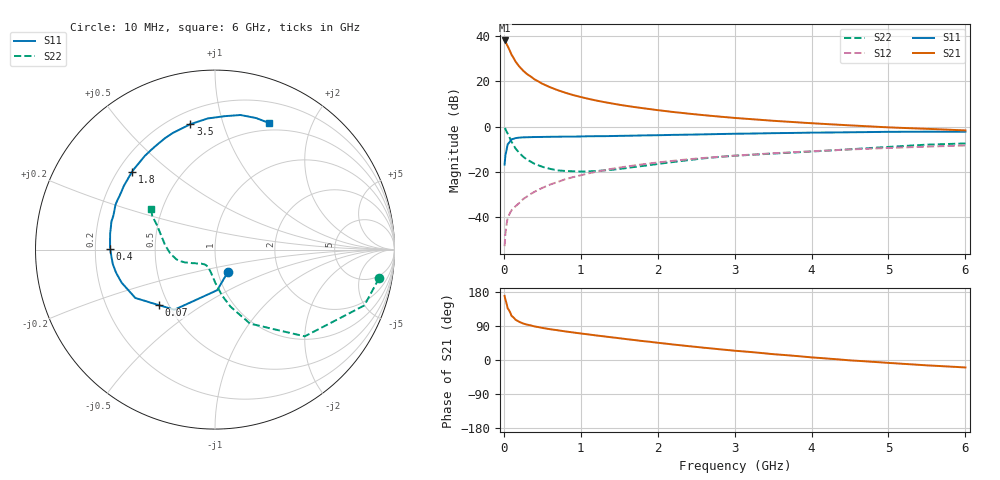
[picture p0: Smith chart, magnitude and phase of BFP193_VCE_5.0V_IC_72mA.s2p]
! Infineon Technologies  Discrete & RF Semiconductors
! BFP193
! VCE =  5.0 V,  IC =  72 mA
! Common Emitter S-Parameters:  Jan 2017
# GHz  S  MA  R  50
!  f  S11  S21  S12  S22
! GHz  MAG  ANG  MAG  ANG  MAG  ANG  MAG  ANG
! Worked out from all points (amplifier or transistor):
!   77 points, 10 MHz to 6 GHz, reference 50 ohm
!   highest |S21| = 38.2 dB at 10 MHz (marker M1)
!   |S21| within 3 dB of that: start of sweep to 56.55 MHz
!   unconditionally stable (mu >= 1): 455.4 MHz to 2.359 GHz
!   at 130 MHz: K = 0.70, MSG = 33.2 dB, |S12| = -36.1 dB
!   at 2.2 GHz: K = 1.01, MAG = 10.3 dB, |S12| = -15.3 dB
!   at 6 GHz: K = 0.93, MSG = 3.3 dB, |S12| = -8.4 dB
!   S11 on the Smith chart (normalised r, x): 10 MHz: 1.12, -0.28; 70 MHz: 0.44, -0.34; 400 MHz: 0.26, +0.00; 1.8 GHz: 0.26, +0.37; 3.5 GHz: 0.28, +0.78; 6 GHz: 0.42, +1.43
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0.01  0.1429 -59.3  81.56 169.2  0.0022 85.9  0.928 -9.9
0.02  0.2266 -86.9  78.49 159.4  0.0041 80.9  0.8882 -20.5
0.05  0.4048 -124.1  60.86 136.2  0.0092 65.8  0.6955 -44.0
0.07  0.4403 -135.4  51.62 130.3  0.011 63.8  0.5914 -50.3
0.1  0.5193 -148.7  39.39 116.4  0.0138 61.8  0.456 -64.7
0.15  0.5519 -160.5  28.04 106.7  0.0168 62.8  0.3292 -74.8
0.2  0.5662 -166.9  21.58 100.7  0.02 66.1  0.2594 -81.2
0.25  0.575 -171.9  17.48 96.4  0.0244 66.8  0.2148 -85.5
0.3  0.5777 -175.3  14.65 93.4  0.0278 67.3  0.1841 -89.6
0.4  0.5846 179.4  11.12 88.5  0.0356 70.7  0.1481 -95.4
0.5  0.587 174.8  8.924 84.7  0.0433 70.7  0.1275 -100.7
0.6  0.591 171.4  7.477 81.3  0.0513 70.3  0.1148 -105.9
0.7  0.5932 168.0  6.418 78.5  0.0586 70.7  0.106 -109.9
0.9  0.5969 161.7  5.002 72.7  0.0752 69.3  0.1012 -117.6
1.1  0.6082 155.8  4.12 67.5  0.0911 67.7  0.1013 -124.6
1.8  0.6341 136.8  2.566 50.1  0.1444 59.4  0.1328 -145.0
2.1  0.6461 129.3  2.205 43.3  0.1657 55.4  0.1548 -151.4
3.1  0.6939 108.1  1.507 22.9  0.2309 42.5  0.2294 -168.7
3.5  0.7119 101.1  1.342 15.4  0.2545 37.9  0.2508 -175.3
4.1  0.7335 91.7  1.158 5.5  0.2874 30.5  0.2846 172.8
5.1  0.7633 78.0  0.943 -8.9  0.3387 18.8  0.361 155.8
6  0.767 66.9  0.82 -19.7  0.3793 8.6  0.421 147.8
